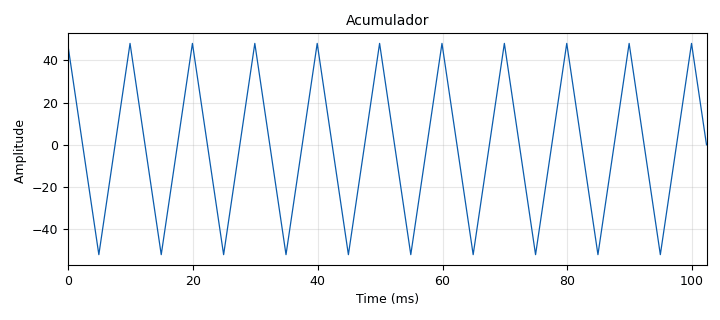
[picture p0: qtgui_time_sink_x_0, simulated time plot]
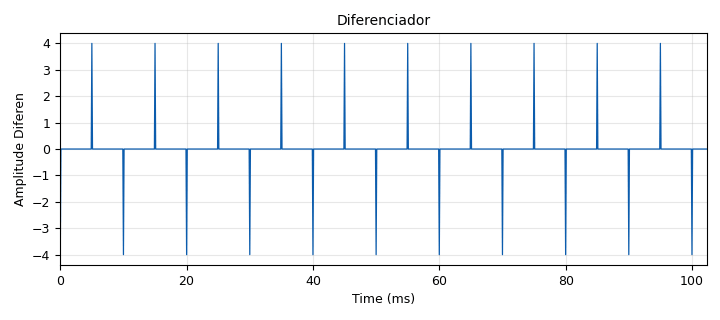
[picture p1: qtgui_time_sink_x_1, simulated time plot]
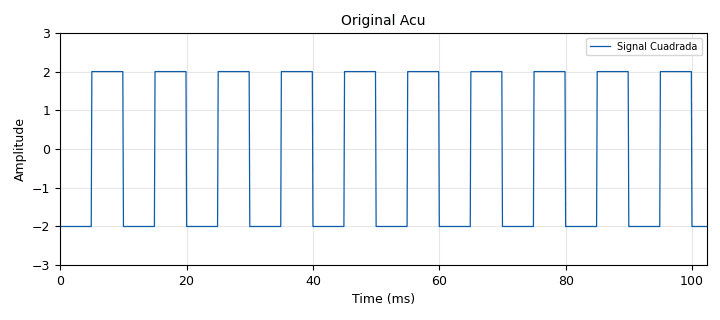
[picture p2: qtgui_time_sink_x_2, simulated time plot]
options:
  parameters:
    author: CARLOS_CARREÑO_JUAN_PINTO
    generate_options: qt_gui
    id: Lab_Comu_II_Acum_Diff
    output_language: python
    title: Lab_Comu_II_Acum_Diff
  states: {}

blocks:
- name: Puntos
  id: variable
  parameters:
    value: '1024'
  states: {}
- name: samp_rate
  id: variable
  parameters:
    value: '10000'
  states: {}
- name: analog_sig_source_x_0
  id: analog_sig_source_x
  parameters:
    amp: '4'
    freq: '100'
    offset: '-2'
    phase: '1.57'
    samp_rate: samp_rate
    type: float
    waveform: analog.GR_SQR_WAVE
  states: {}
- name: blocks_vector_source_x_0
  id: blocks_vector_source_x
  parameters:
    repeat: 'True'
    type: float
    vector: (1, 0, 1,0,1,0)
  states: {}
- name: epy_block_0
  id: epy_block
  parameters:
    _source_code: |-
      """
      Embedded Python Blocks:

      Each time this file is saved, GRC will instantiate the first class it finds
      to get ports and parameters of your block. The arguments to __init__  will
      be the parameters. All of them are required to have default values!
      """

      import numpy as np
      from gnuradio import gr

      class blk(gr.sync_block ):
          def __init__ ( self ) : # only default arguments here
              gr.sync_block.__init__ (
              self ,
              name ="e_Acum2", # will show up in GRC
              in_sig =[ np.float32 ],
              out_sig =[ np.float32 ])
              self.acumulado_anterior = 0  # Para almacenar el valor acumulado hasta el momento

          def work(self, input_items, output_items):
              x = input_items[0]  # Senal de entrada
              y = output_items[0]  # Senal acumulada
              N = len(x)

              # Calcular el acumulado, continuando desde el valor acumulado anterior
              y[:] = np.cumsum(x) + self.acumulado_anterior

              # Guardar el valor acumulado para el siguiente bloque
              self.acumulado_anterior = y[N-1]  # El ultimo valor acumulado se guarda


              return len(y)
      #    def work (self , input_items , output_items ):
      #        x = input_items[0] # Senial de entrada .
      #        y0 = output_items[0] # Senial acumulada
      #        y0[:] = np.cumsum(x)
              #y0 [:] = len(y0)
      #        return len(y0)
    comment: Acumulador
  states: {}
- name: epy_block_0_0
  id: epy_block
  parameters:
    _source_code: |-
      """
      Embedded Python Blocks:

      Each time this file is saved, GRC will instantiate the first class it finds
      to get ports and parameters of your block. The arguments to __init__  will
      be the parameters. All of them are required to have default values!
      """

      import numpy as np
      from gnuradio import gr

      class blk(gr.sync_block ):
          def __init__ ( self ) : # only default arguments here
              gr.sync_block.__init__ (
              self ,
              name ="e_Acum2", # will show up in GRC
              in_sig =[ np.float32 ],
              out_sig =[ np.float32 ])
              self.acumulado_anterior = 0  # Para almacenar el valor acumulado hasta el momento

          def work(self, input_items, output_items):
              x = input_items[0]  # Senal de entrada
              y = output_items[0]  # Senal acumulada
              N = len(x)

              # Calcular el acumulado, continuando desde el valor acumulado anterior
              y[:] = np.cumsum(x) + self.acumulado_anterior

              # Guardar el valor acumulado para el siguiente bloque
              self.acumulado_anterior = y[N-1]  # El ultimo valor acumulado se guarda


              return len(y)
      #    def work (self , input_items , output_items ):
      #        x = input_items[0] # Senial de entrada .
      #        y0 = output_items[0] # Senial acumulada
      #        y0[:] = np.cumsum(x)
              #y0 [:] = len(y0)
      #        return len(y0)
    comment: Acumulador
  states: {}
- name: epy_block_1
  id: epy_block
  parameters:
    _source_code: |
      """
      Embedded Python Blocks:

      Each time this file is saved, GRC will instantiate the first class it finds
      to get ports and parameters of your block. The arguments to __init__  will
      be the parameters. All of them are required to have default values!
      """
      import numpy as np
      from gnuradio import gr
      class blk(gr.sync_block ):
      	def __init__( self ) : # only default arguments here
      		gr.sync_block.__init__ (
      			self ,
      			name ="e_Diff2" , # will show up in GRC
      			in_sig =[ np.float32 ],
      			out_sig =[ np.float32 ]
      		)
      		self.anterior = 0
      	def work(self , input_items , output_items ):
      		x = input_items[0]  # Senal de entrada
      		y = output_items[0]  # Senal diferenciada
      		N = len(x)

              # Calcular la diferencia entre valores consecutivos
      		y[0] = x[0] - self.anterior  # Diferencia con el valor anterior
      		y[1:] = np.diff(x)  # Diferencia entre valores consecutivos de la senal

              # Actualizar el valor anterior para el siguiente bloque de procesamiento
      		self.anterior = x[N-1]

      		
      		return len(y)
    comment: Diferenciador
  states: {}
- name: epy_block_1_0
  id: epy_block
  parameters:
    _source_code: |
      """
      Embedded Python Blocks:

      Each time this file is saved, GRC will instantiate the first class it finds
      to get ports and parameters of your block. The arguments to __init__  will
      be the parameters. All of them are required to have default values!
      """
      import numpy as np
      from gnuradio import gr
      class blk(gr.sync_block ):
      	def __init__( self ) : # only default arguments here
      		gr.sync_block.__init__ (
      			self ,
      			name ="e_Diff2" , # will show up in GRC
      			in_sig =[ np.float32 ],
      			out_sig =[ np.float32 ]
      		)
      		self.anterior = 0
      	def work(self , input_items , output_items ):
      		x = input_items[0]  # Senal de entrada
      		y = output_items[0]  # Senal diferenciada
      		N = len(x)

              # Calcular la diferencia entre valores consecutivos
      		y[0] = x[0] - self.anterior  # Diferencia con el valor anterior
      		y[1:] = np.diff(x)  # Diferencia entre valores consecutivos de la senal

              # Actualizar el valor anterior para el siguiente bloque de procesamiento
      		self.anterior = x[N-1]

      		
      		return len(y)
    comment: Diferenciador
  states: {}
- name: qtgui_number_sink_0
  id: qtgui_number_sink
  parameters:
    graph_type: qtgui.NUM_GRAPH_HORIZ
    gui_hint: (2,0,1,3)
    name: '"ACUMULADOR"'
    type: float
    update_time: '0.1'
  states: {}
- name: qtgui_number_sink_0_0
  id: qtgui_number_sink
  parameters:
    graph_type: qtgui.NUM_GRAPH_HORIZ
    gui_hint: (3,0,1,3)
    name: '"DIFERENCIADOR"'
    type: float
  states: {}
- name: qtgui_number_sink_0_1
  id: qtgui_number_sink
  parameters:
    graph_type: qtgui.NUM_GRAPH_HORIZ
    gui_hint: (1,0,1,3)
    name: '"SOURSE"'
    type: float
  states: {}
- name: qtgui_time_sink_x_0
  id: qtgui_time_sink_x
  parameters:
    autoscale: 'True'
    entags: 'False'
    gui_hint: (0,1,1,1)
    name: Acumulador
    size: Puntos
    srate: samp_rate
    type: float
    update_time: '0.3'
    ylabel: 'Amplitude '
    ymax: '30'
    ymin: '-30'
  states: {}
- name: qtgui_time_sink_x_1
  id: qtgui_time_sink_x
  parameters:
    autoscale: 'True'
    gui_hint: (0,2,1,1)
    name: '"Diferenciador"'
    size: Puntos
    srate: samp_rate
    type: float
    update_time: '0.3'
    ylabel: Amplitude Diferen
    ymax: '2'
    ymin: '-2'
  states: {}
- name: qtgui_time_sink_x_2
  id: qtgui_time_sink_x
  parameters:
    entags: 'False'
    gui_hint: (0,0,1,1)
    label1: Signal Cuadrada
    name: '"Original Acu"'
    size: '1024'
    srate: samp_rate
    type: float
    update_time: '0.3'
    ymax: '3'
    ymin: '-3'
  states: {}

connections:
- [analog_sig_source_x_0, '0', epy_block_0, '0']
- [analog_sig_source_x_0, '0', epy_block_1, '0']
- [analog_sig_source_x_0, '0', qtgui_time_sink_x_2, '0']
- [blocks_vector_source_x_0, '0', epy_block_0_0, '0']
- [blocks_vector_source_x_0, '0', epy_block_1_0, '0']
- [blocks_vector_source_x_0, '0', qtgui_number_sink_0_1, '0']
- [epy_block_0, '0', qtgui_time_sink_x_0, '0']
- [epy_block_0_0, '0', qtgui_number_sink_0, '0']
- [epy_block_1, '0', qtgui_time_sink_x_1, '0']
- [epy_block_1_0, '0', qtgui_number_sink_0_0, '0']

metadata:
  file_format: 1
  grc_version: 3.10.9.2
